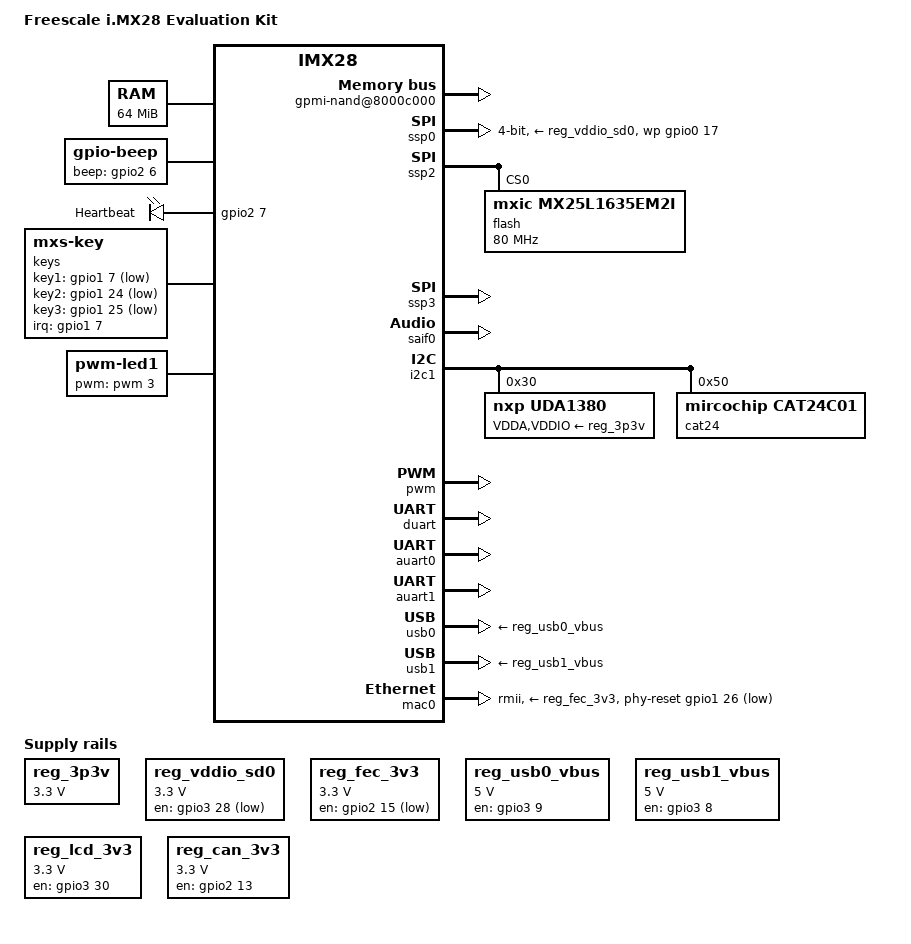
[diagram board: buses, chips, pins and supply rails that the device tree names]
/*
 * Copyright 2012 Freescale Semiconductor, Inc.
 *
 * The code contained herein is licensed under the GNU General Public
 * License. You may obtain a copy of the GNU General Public License
 * Version 2 or later at the following locations:
 *
 * http://www.opensource.org/licenses/gpl-license.html
 * http://www.gnu.org/copyleft/gpl.html
 */

/dts-v1/;
#include "imx28.dtsi"

/ {
	model = "Freescale i.MX28 Evaluation Kit";
	compatible = "fsl,imx28-evk", "fsl,imx28";

	memory {
		/* DDR默认存储器，存储空间64MB */
		reg = <0x40000000 0x04000000>;
	};

	apb@80000000 {
		apbh@80000000 {
			/* NAND flash管脚配置 */
			gpmi-nand@8000c000 {
				pinctrl-names = "default";
				pinctrl-0 = <&gpmi_pins_a>;
				status = "okay";
			};
			/* TF卡管脚配置 */
			ssp0: ssp@80010000 {
				compatible = "fsl,imx28-mmc";
				pinctrl-names = "default";
				pinctrl-0 = <&mmc0_4bit_pins_a>;
				bus-width = <4>;
				/* TF卡写保护配置 */
				wp-gpios = <&gpio0 17 0>;			
				vmmc-supply = <&reg_vddio_sd0>;
				status = "okay";
			};
			/* AP-283Demo板的数码管显示管脚配置 */
			ssp2: ssp@80014000{
				#address-cells = <1>;
				#size-cells = <0>;
				compatible = "fsl,imx28-spi";
				pinctrl-names = "default";
				pinctrl-0 = <&spi2_pins_a>;
				/* 数码管RCK管脚配置,初始值为低电平 */
				rck-gpios = <&gpio3 21 0>;
				status = "okay";

				/* 扩展的NOR flash:mx25l1635EM2I相关配置 */
				flash: mx25l16@0 {
					#address-cells = <1>;
					#size-cells = <1>;
					compatible = "mxic,mx25l1635em2i","jedec,spi-nor";
					/* 该flash的最大频率为80MHz */
					spi-max-frequency = <80000000>;
					reg = <0>;
				};
			};

			ssp3: ssp@80016000 {
				#address-cells = <1>;
				#size-cells = <0>;
				compatible = "fsl,imx28-spi";
				pinctrl-names = "default";
				pinctrl-0 = <&spi3_pins_a>;
				status = "okay";
				/* 如果使用SPI3与外扩flash通信，打开该部分配置 */
				/*flash: mx25l16@0 {
					#address-cells = <1>;
					#size-cells = <1>;
					compatible = "mxic,mx25l1635em2i", "jedec,spi-nor";
					spi-max-frequency = <80000000>;
					reg = <0>;
				};*/
			};

			pinctrl@80018000 {
				pinctrl-names = "default";
				/* 根据EasyARM-imx280A增加蜂鸣器 */
				beep_pin_gpio2_6:beep_gpio2_6@0{
					reg = <0>;
					fsl,pinmux-ids = <
						MX28_PAD_SSP0_DATA6__GPIO_2_6
					>;
					fsl,drive-strength = <MXS_DRIVE_8mA>;
					fsl,voltage = <MXS_VOLTAGE_LOW>;
					fsl,pull-up = <MXS_PULL_DISABLE>;
				};
				/* 根据EasyARM-imx280A修改了usr run led的gpio口,即heartbeat灯 */
				led_pin_gpio2_7:led_gpio2_7@0{
					reg = <0>;
					fsl,pinmux-ids = <
						MX28_PAD_SSP0_DATA7__GPIO_2_7
					>;
					fsl,drive-strength = <MXS_DRIVE_4mA>;
					fsl,voltage = <MXS_VOLTAGE_HIGH>;
					fsl,pull-up = <MXS_PULL_DISABLE>;
				};
				/* 根据EasyARM-imx280A修改了err led的gpio口*/
				led_pin_gpio3_20: led_gpio3_20@0 {
					reg = <0>;
					fsl,pinmux-ids = <
						MX28_PAD_SAIF0_MCLK__GPIO_3_20
					>;
					fsl,drive-strength = <MXS_DRIVE_4mA>;
					fsl,voltage = <MXS_VOLTAGE_HIGH>;
					fsl,pull-up = <MXS_PULL_DISABLE>;
				};
				/* 配置扩展板LED3灯的gpio口 */
				led_pin_gpio3_25:led_gpio3_25@0{
					reg = <0>;
					fsl,pinmux-ids = <
						MX28_PAD_I2C0_SDA__GPIO_3_25
					>;
					fsl,drive-strength = <MXS_DRIVE_4mA>;
					fsl,voltage = <MXS_VOLTAGE_HIGH>;
					fsl,pull-up = <MXS_PULL_DISABLE>;
				};
				/* 配置扩展板LED4灯的gpio口 */
				led_pin_gpio3_24:led_gpio3_24@0{
					reg = <0>;
					fsl,pinmux-ids = <
						MX28_PAD_I2C0_SCL__GPIO_3_24
					>;
					fsl,drive-strength = <MXS_DRIVE_4mA>;
					fsl,voltage = <MXS_VOLTAGE_HIGH>;
					fsl,pull-up = <MXS_PULL_DISABLE>;
				};
				/* 配置扩展板按键的gpio口 */
				keys_pin:keys_pins_gpio@0{
					fsl,pinmux-ids = <
						MX28_PAD_LCD_D07__GPIO_1_7				/* KEY1 */
						MX28_PAD_LCD_RD_E__GPIO_1_24			/* KEY2 */
						MX28_PAD_LCD_WR_RWN__GPIO_1_25			/* KEY3 */
					>;
					fsl,drive-strength = <MXS_DRIVE_4mA>;
					fsl,voltage = <MXS_VOLTAGE_HIGH>;			/* 默认为高电平 */
					fsl,pull-up = <MXS_PULL_DISABLE>;			/* 上拉禁止 */
				};
			};
		};

		apbx@80040000 {
			/* AP-283Demo板音频输入输出接口配置 */
			saif0: saif@80042000 {
				pinctrl-names = "default";
				pinctrl-0 = <&saif0_pins_a>;
				fsl,saif-master = <&saif0>;
				status = "okay";
			};
			/* I2C0 用于加密电路,默认作为LED3和LED4的管脚使用，现在配置为LED3和LED4*/
			/*i2c0: i2c@80058000 {
				pinctrl-names = "default";
				pinctrl-0 = <&i2c0_pins_a>;
				status = "okay";
				};*/
			/* AP-283Demo板音频和EEPROM的I2C接口配置 */
			i2c1: i2c@8005a000 {
				pinctrl-names = "default";
				pinctrl-0 = <&i2c1_pins_a>;
				status = "okay";
				/* 音频编解码芯片配置 */
				uda1380: codec@30 {
					compatible = "nxp,uda1380";
					reg = <0x30>;
					VDDA-supply = <&reg_3p3v>;
					VDDIO-supply = <&reg_3p3v>;
					clocks = <&saif0>;
				};
				/* EEPROM芯片配置 */
				cat24@a0 {
					compatible = "mircochip,cat24c01";
					/* cat24c01的页数为16 */
					pagesize = <16>; 			
					reg = <0x50>;
				};
			};
			/* AP-283Demo板LED1管脚 */
			pwm: pwm@80064000 {
				pinctrl-names = "default";
				pinctrl-0 = <&pwm3_pins_a>;
				status = "okay";
			};
			/* 调试串口输出配置 */
			duart: serial@80074000 {
				pinctrl-names = "default";
				pinctrl-0 = <&duart_pins_b>;
				status = "okay";
			};
			/* 扩展板UART0配置 */
			auart0: serial@8006a000 {
				pinctrl-names = "default";
				pinctrl-0 = <&auart0_2pins_a>;
				status = "okay";
			};
			/* 扩展板UART1配置 */
			auart1: serial@8006c000 {
				pinctrl-names = "default";
				pinctrl-0 = <&auart1_2pins_a>;
				status = "okay";
			};

			usbphy0: usbphy@8007c000 {
				status = "okay";
			};

			usbphy1: usbphy@8007e000 {
				status = "okay";
			};
		};
	};

	ahb@80080000 {
		/* USB0配置 */
		usb0: usb@80080000 {
			pinctrl-names = "default";
			/* USB0 ID管脚配置 */
			pinctrl-0 = <&usb0_id_pins_b
			/* USB0 OC管脚配置 */
						&usb0_pins_a>;
			vbus-supply = <&reg_usb0_vbus>;
			status = "okay";
		};
		/* USB1配置 */
		usb1: usb@80090000 {
			pinctrl-names = "default";
			/* USB1 OC管脚配置 */
			pinctrl-0 = <&usb1_pins_a>;
			vbus-supply = <&reg_usb1_vbus>;
			status = "okay";
		};
		/* 以太网配置 */
		mac0: ethernet@800f0000 {
			phy-mode = "rmii";
			pinctrl-names = "default";
			pinctrl-0 = <&mac0_pins_a>;
			phy-supply = <&reg_fec_3v3>;
			phy-reset-gpios = <&gpio1 26 GPIO_ACTIVE_LOW>;
			phy-reset-duration = <100>;
			status = "okay";
		};
	};

	regulators {
		compatible = "simple-bus";
		#address-cells = <1>;
		#size-cells = <0>;

		reg_3p3v: regulator@0 {
			compatible = "regulator-fixed";
			reg = <0>;
			regulator-name = "3P3V";
			regulator-min-microvolt = <3300000>;
			regulator-max-microvolt = <3300000>;
			regulator-always-on;
		};

		reg_vddio_sd0: regulator@1 {
			compatible = "regulator-fixed";
			reg = <1>;
			regulator-name = "vddio-sd0";
			regulator-min-microvolt = <3300000>;
			regulator-max-microvolt = <3300000>;
			gpio = <&gpio3 28 0>;
		};

		reg_fec_3v3: regulator@2 {
			compatible = "regulator-fixed";
			reg = <2>;
			regulator-name = "fec-3v3";
			regulator-min-microvolt = <3300000>;
			regulator-max-microvolt = <3300000>;
			gpio = <&gpio2 15 0>;
		};

		reg_usb0_vbus: regulator@3 {
			compatible = "regulator-fixed";
			reg = <3>;
			regulator-name = "usb0_vbus";
			regulator-min-microvolt = <5000000>;
			regulator-max-microvolt = <5000000>;
			gpio = <&gpio3 9 0>;
			enable-active-high;
		};

		reg_usb1_vbus: regulator@4 {
			compatible = "regulator-fixed";
			reg = <4>;
			regulator-name = "usb1_vbus";
			regulator-min-microvolt = <5000000>;
			regulator-max-microvolt = <5000000>;
			gpio = <&gpio3 8 0>;
			enable-active-high;
		};

		reg_lcd_3v3: regulator@5 {
			compatible = "regulator-fixed";
			reg = <5>;
			regulator-name = "lcd-3v3";
			regulator-min-microvolt = <3300000>;
			regulator-max-microvolt = <3300000>;
			gpio = <&gpio3 30 0>;
			enable-active-high;
		};

		reg_can_3v3: regulator@6 {
			compatible = "regulator-fixed";
			reg = <6>;
			regulator-name = "can-3v3";
			regulator-min-microvolt = <3300000>;
			regulator-max-microvolt = <3300000>;
			gpio = <&gpio2 13 0>;
			enable-active-high;
		};

	};
	/* 音频编解码配置 */
	sound {
		compatible = "nxp,nxp-audio-uda1380";
		model = "imx28-evk-uda1380";
		saif-controllers = <&saif0>;
		audio-codec = <&uda1380>;
	};
	/* 蜂鸣器配置 */
	beep {
		compatible = "gpio-beep";
		pinctrl-names = "default";
		pinctrl-0 = <&beep_pin_gpio2_6>;
		beep-gpio = <&gpio2 6 0>;
		status = "okay";
	};
	/* LED3，LED4 Heartbeat配置 */
	leds {
		compatible = "gpio-leds";
		pinctrl-names = "default";
		/*根据EasyARM-imx280A修改了心跳led和user led的gpio口*/
		pinctrl-0 = <&led_pin_gpio2_7
					&led_pin_gpio3_25
					&led_pin_gpio3_24>;
		led3-gpio = <&gpio3 25 0>;
		led4-gpio = <&gpio3 24 0>;
		status = "okay";

		user {
			label = "Heartbeat";
			gpios = <&gpio2 7 0>;
			linux,default-trigger = "heartbeat";
			/*使能心跳led*/
			default-state = "on";
		};

	};
	/* KEY1,KEY2,KEY3配置 */
	keys{
		compatible = "mxs-key";
		pinctrl-names = "default";
		#address-cells = <1>;
		#size-cells = <1>;
		pinctrl-0 = <&keys_pin>;
		interrupt-parent = <&gpio1>;
		key1-gpio = <&gpio1 7 1>;		/* 默认为高电平 */
		key2-gpio = <&gpio1 24 1>;
		key3-gpio = <&gpio1 25 1>;
		interrupts = <7  8				/* GPIO1_7低电平触发 */
					  24 8				/* GPIO1_24低电平触发 */	
					  25 8>;			/* GPIO1_25低电平触发 */
		status = "okay";
	};
	/* LED1的管脚配置，可用LED1来测试CPU的PWM功能 */
	pwm-led1 {
		compatible = "pwm-led1";
		/* PWM通道数(即索引号)和周期(单位：ns) */
		pwms = <&pwm 3 5000000>; 
		/* 亮度从0～255变化，表示正极性，占空比0～100%的变化，从255～0变化，表示负极性，占空比100%～0变化 */
		brightness-levels = <0 4 8 16 32 64 128 255>;	
		default-brightness-level = <6>;
	};
	/* AP-283Demo板ADC输入为配置完成，需要重新配置待定*/
	/*&lradc {
		status = "okay";
		fsl,lradc-wires = <2>;

		fsl,ave-ctrl = <4>;
		fsl,ave-delay = <2>;
		fsl,settling = <10>;
	};*/
};
